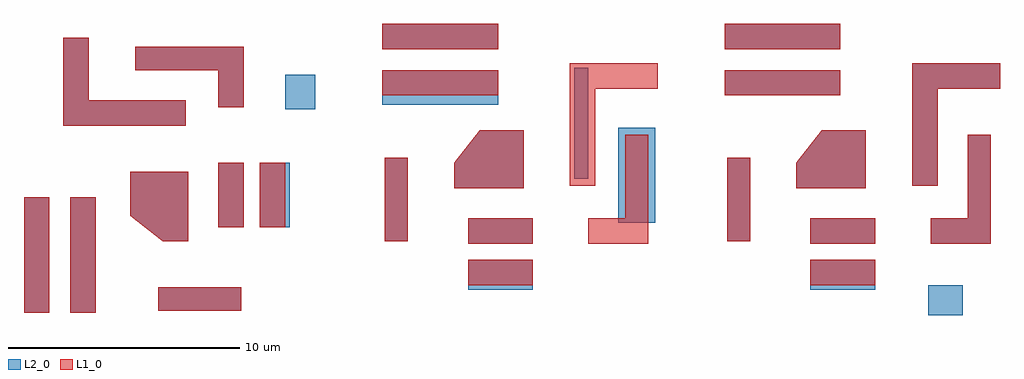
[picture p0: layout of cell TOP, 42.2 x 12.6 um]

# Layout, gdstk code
from math import pi, radians
import gdstk
lib = gdstk.Library(unit=1e-6, precision=1e-09)
def R(c, l, rs):  # rectangles x0, y0, x1, y1
    for r in rs: c.add(gdstk.rectangle(r[:2], r[2:], *l))
def P(c, l, *ps):  # polygons
    for p in ps: c.add(gdstk.Polygon(p, *l))
L1_0 = (1, 0)
L2_0 = (2, 0)

c_a = lib.new_cell('A')
R(c_a, L1_0, [(4.5,0.8,7.3,1.9), (4.5,2.6,7.3,3.7), (9.7,2.6,12.3,3.7), (0.9,2.7,1.9,6.3), (11.3,3.7,12.3,7.3), (0.8,9,5.8,10.1), (0.8,11,2.8,12.1), (2.8,11,5.8,12.1)])
P(c_a, L1_0, [(3.9,5),(3.9,6.1),(5,7.5),(6.9,7.5),(6.9,5)],
  [(8.9,5.1),(8.9,10.4),(12.7,10.4),(12.7,9.3),(10,9.3),(10,5.1)])
R(c_a, L2_0, [(4.5,0.6,7.3,1.9), (4.5,2.6,7.3,3.7), (0.9,2.7,1.9,4.5), (0.9,4.5,1.9,6.3)])
P(c_a, L2_0, [(3.9,5),(3.9,6.1),(5,7.5),(6.9,7.5),(6.9,5)])

c_b = lib.new_cell('B')
R(c_b, L2_0, [(0,0,1.1,5), (2,0,3.1,5), (11.3,8.8,12.6,10.3)])
P(c_b, L2_0, [(8.4,8.9),(8.4,10.5),(4.8,10.5),(4.8,11.5),(9.5,11.5),(9.5,8.9)],
  [(1.7,8.1),(1.7,11.9),(2.8,11.9),(2.8,9.2),(7,9.2),(7,8.1)])

top = lib.new_cell('TOP')
R(top, L2_0, [(1.1,1.2,2.2,6.2), (3.1,1.2,4.2,6.2), (26.8,5.1,28.4,9.2), (24.9,7,25.5,11.8), (12.4,10,13.7,11.5), (16.6,10.2,21.6,11.7), (16.6,12.6,21.6,13.7)])
P(top, L2_0, [(9.5,10.1),(9.5,11.7),(5.9,11.7),(5.9,12.7),(10.6,12.7),(10.6,10.1)],
  [(2.8,9.3),(2.8,13.1),(3.9,13.1),(3.9,10.4),(8.1,10.4),(8.1,9.3)])
top.add(gdstk.Reference(c_a, (13.2,0.4), rotation=pi/2))
top.add(gdstk.Reference(c_a, (15.8,1.6)))
top.add(gdstk.Reference(c_a, (30.6,1.6)))
top.add(gdstk.Reference(c_b, (31.4,13.7), rotation=3*pi/2))

lib.write_gds('TOP.gds')
